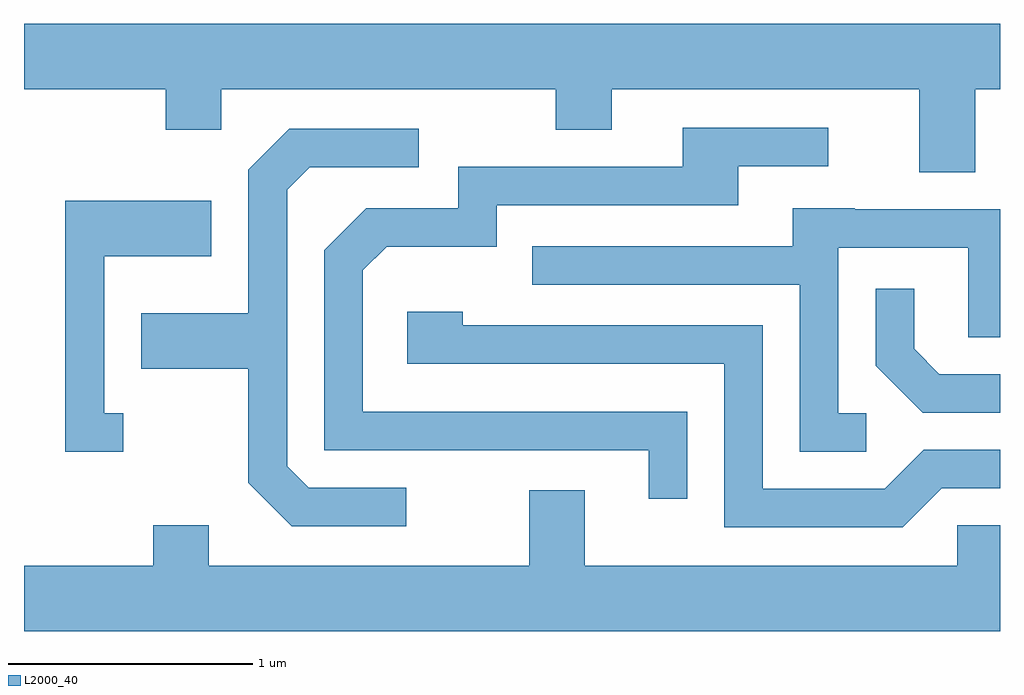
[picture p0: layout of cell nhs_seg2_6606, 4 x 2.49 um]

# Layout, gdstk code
import gdstk
lib = gdstk.Library(unit=1e-6, precision=1e-09)
def P(c, l, *ps):  # polygons
    for p in ps: c.add(gdstk.Polygon(p, *l))
L2000_40 = (2000, 40)

nhs_seg2_6606 = lib.new_cell('nhs_seg2_6606')
P(nhs_seg2_6606, L2000_40, [(383.509,1068.296),(383.611,1068.296),(383.611,1068.564),(379.611,1068.564),(379.611,1068.296),(380.191,1068.296),(380.191,1068.131),(380.419,1068.131),(380.419,1068.296),(381.791,1068.296),(381.791,1068.131),(382.019,1068.131),(382.019,1068.296),(383.281,1068.296),(383.281,1067.956),(383.509,1067.956)],
  [(382.329,1066.974),(380.999,1066.974),(380.999,1067.554),(381.097,1067.651),(381.549,1067.651),(381.549,1067.821),(382.539,1067.821),(382.539,1067.981),(382.908,1067.981),(382.908,1068.139),(382.311,1068.139),(382.311,1067.979),(381.391,1067.979),(381.391,1067.809),(381.014,1067.809),(380.841,1067.637),(380.841,1066.816),(382.171,1066.816),(382.171,1066.618),(382.329,1066.618)],
  [(381.178,1066.664),(380.777,1066.664),(380.689,1066.752),(380.689,1067.884),(380.782,1067.976),(381.228,1067.976),(381.228,1068.134),(380.699,1068.134),(380.531,1067.967),(380.531,1067.379),(380.091,1067.379),(380.091,1067.151),(380.531,1067.151),(380.531,1066.684),(380.709,1066.506),(381.178,1066.506)],
  [(380.018,1066.969),(379.939,1066.969),(379.939,1067.611),(380.379,1067.611),(380.379,1067.839),(379.781,1067.839),(379.781,1066.811),(380.018,1066.811)],
  [(383.063,1066.969),(382.949,1066.969),(382.949,1067.646),(383.481,1067.646),(383.481,1067.281),(383.611,1067.281),(383.611,1067.804),(383.015,1067.804),(383.015,1067.809),(382.761,1067.809),(382.761,1067.654),(381.693,1067.654),(381.693,1067.496),(382.791,1067.496),(382.791,1066.811),(383.063,1066.811)],
  [(383.611,1067.129),(383.362,1067.129),(383.259,1067.232),(383.259,1067.478),(383.101,1067.478),(383.101,1067.164),(383.294,1066.971),(383.611,1066.971)],
  [(383.372,1066.661),(383.611,1066.661),(383.611,1066.819),(383.299,1066.819),(383.139,1066.659),(382.639,1066.659),(382.639,1067.329),(381.409,1067.329),(381.409,1067.384),(381.181,1067.384),(381.181,1067.171),(382.481,1067.171),(382.481,1066.501),(383.212,1066.501)],
  [(383.611,1066.509),(383.436,1066.509),(383.436,1066.344),(381.909,1066.344),(381.909,1066.654),(381.681,1066.654),(381.681,1066.344),(380.369,1066.344),(380.369,1066.509),(380.141,1066.509),(380.141,1066.344),(379.611,1066.344),(379.611,1066.076),(383.611,1066.076)])

lib.write_gds('nhs_seg2_6606.gds')
